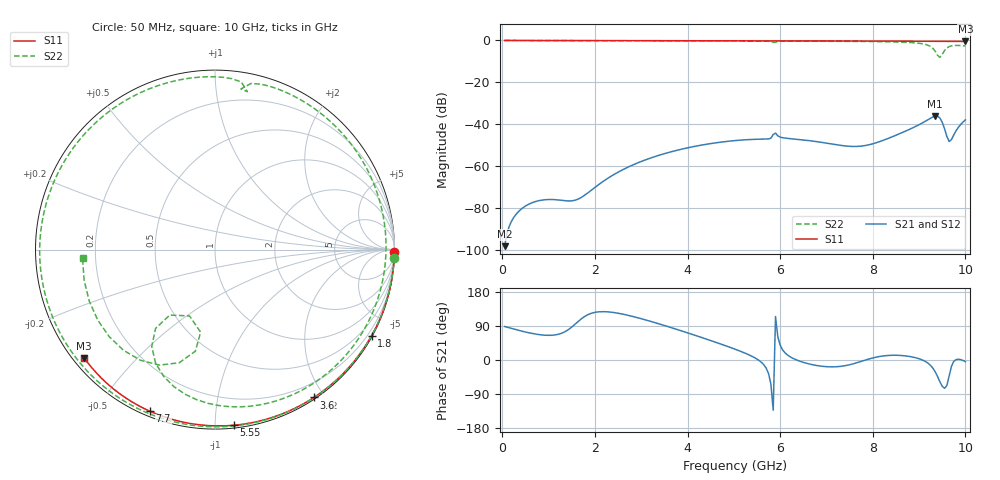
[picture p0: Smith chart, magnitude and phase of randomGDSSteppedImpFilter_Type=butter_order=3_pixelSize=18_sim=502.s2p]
! freq	dB(S11)	phase(S11)	dB(S12)	phase(S12)
!  dB(S21)	phase(S21)	dB(S22)	phase(S22)
!S-par simulation data
#  GHz  S  DB  R 50
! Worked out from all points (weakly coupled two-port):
!   200 points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, 50 MHz to 10 GHz, reference 50 ohm
!   highest |S21| = -36.03 dB at 9.35 GHz (marker M1); lowest = -98.1 dB at 50 MHz (marker M2)
!   lowest |S11| = -0.5 dB at 10 GHz (marker M3), VSWR 36.57, Z = 1.55 - j18 ohm
!   |S11| at or under -10 dB: nowhere
!   |S22| runs from -8.0 to 0.0 dB; largest |S21 - S12| = 0
!   S11 on the Smith chart (normalised r, x): 50 MHz: open; 1.8 GHz: 0.03, -3.89; 3.6 GHz: 0.02, -1.87; 5.55 GHz: 0.02, -1.11; 7.7 GHz: 0.02, -0.68; 10 GHz: 0.03, -0.36
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0.05  -0.00 -0.8  -98.06 88.4  -98.06 88.4  -0.00 -2.7
0.95  -0.02 -15.3  -75.86 65.2  -75.86 65.2  -0.06 -49.1
1.75  -0.04 -28.0  -74.22 112.5  -74.22 112.5  -0.11 -88.3
1.8  -0.04 -28.8  -73.44 116.4  -73.44 116.4  -0.11 -90.7
2.55  -0.05 -40.4  -62.20 122.3  -62.20 122.3  -0.14 -125.4
3.4  -0.07 -53.3  -54.62 94.8  -54.62 94.8  -0.18 -163.5
3.6  -0.08 -56.2  -53.34 87.3  -53.34 87.3  -0.19 -172.4
4.3  -0.09 -66.4  -49.89 59.6  -49.89 59.6  -0.23 155.8
5.05  -0.12 -77.0  -47.68 27.4  -47.68 27.4  -0.28 120.3
5.55  -0.14 -83.8  -47.06 -1.7  -47.06 -1.7  -0.31 95.3
5.9  -0.16 -88.5  -44.16 114.7  -44.16 114.7  -0.85 80.8
6.7  -0.19 -99.1  -47.95 -12.5  -47.95 -12.5  -0.36 37.2
7.2  -0.22 -105.5  -49.65 -17.9  -49.65 -17.9  -0.40 11.2
7.7  -0.26 -111.9  -50.47 -5.6  -50.47 -5.6  -0.46 -14.8
8.35  -0.31 -120.0  -46.55 12.1  -46.55 12.1  -0.64 -49.8
9  -0.37 -128.0  -40.15 3.4  -40.15 3.4  -1.34 -92.8
9.35  -0.40 -132.3  -36.03 -31.6  -36.03 -31.6  -5.20 -127.0
9.45  -0.41 -133.6  -36.98 -57.6  -36.98 -57.6  -8.05 -111.0
9.5  -0.42 -134.2  -39.00 -69.5  -39.00 -69.5  -6.62 -99.9
9.65  -0.44 -136.0  -48.16 -42.4  -48.16 -42.4  -2.93 -115.6
9.85  -0.46 -138.5  -41.37 2.0  -41.37 2.0  -2.36 -149.0
10  -0.48 -140.3  -37.87 -4.3  -37.87 -4.3  -2.62 -176.2
